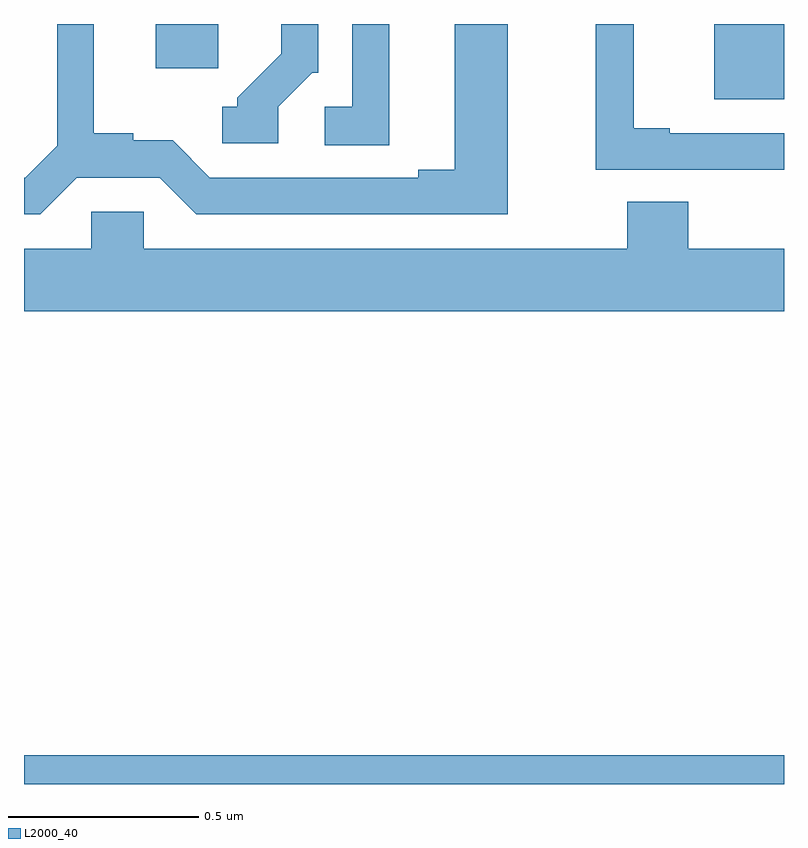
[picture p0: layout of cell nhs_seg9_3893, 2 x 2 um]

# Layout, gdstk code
import gdstk
lib = gdstk.Library(unit=1e-6, precision=1e-09)
def R(c, l, rs):  # rectangles x0, y0, x1, y1
    for r in rs: c.add(gdstk.rectangle(r[:2], r[2:], *l))
def P(c, l, *ps):  # polygons
    for p in ps: c.add(gdstk.Polygon(p, *l))
L2000_40 = (2000, 40)

nhs_seg9_3893 = lib.new_cell('nhs_seg9_3893')
R(nhs_seg9_3893, L2000_40, [(159,1204.5,161,1204.576), (160.817,1206.302,161,1206.5), (159.347,1206.384,159.511,1206.5)])
P(nhs_seg9_3893, L2000_40, [(159.139,1206.096),(159.357,1206.096),(159.453,1206),(160.273,1206),(160.273,1206.5),(160.133,1206.5),(160.133,1206.116),(160.037,1206.116),(160.037,1206.096),(159.489,1206.096),(159.392,1206.194),(159.288,1206.194),(159.288,1206.212),(159.184,1206.212),(159.184,1206.5),(159.087,1206.5),(159.087,1206.18),(159.003,1206.096),(159,1206.096),(159,1206),(159.043,1206)],
  [(159.961,1206.5),(159.864,1206.5),(159.864,1206.282),(159.792,1206.282),(159.792,1206.181),(159.961,1206.181)],
  [(161,1206.213),(160.699,1206.213),(160.699,1206.226),(160.604,1206.226),(160.604,1206.5),(160.504,1206.5),(160.504,1206.117),(161,1206.117)],
  [(159.669,1206.282),(159.759,1206.372),(159.774,1206.372),(159.774,1206.5),(159.677,1206.5),(159.677,1206.422),(159.561,1206.306),(159.561,1206.282),(159.522,1206.282),(159.522,1206.186),(159.669,1206.186)],
  [(161,1205.908),(160.748,1205.908),(160.748,1206.032),(160.588,1206.032),(160.588,1205.908),(159.315,1205.908),(159.315,1206.006),(159.177,1206.006),(159.177,1205.908),(159,1205.908),(159,1205.744),(161,1205.744)])

lib.write_gds('nhs_seg9_3893.gds')
